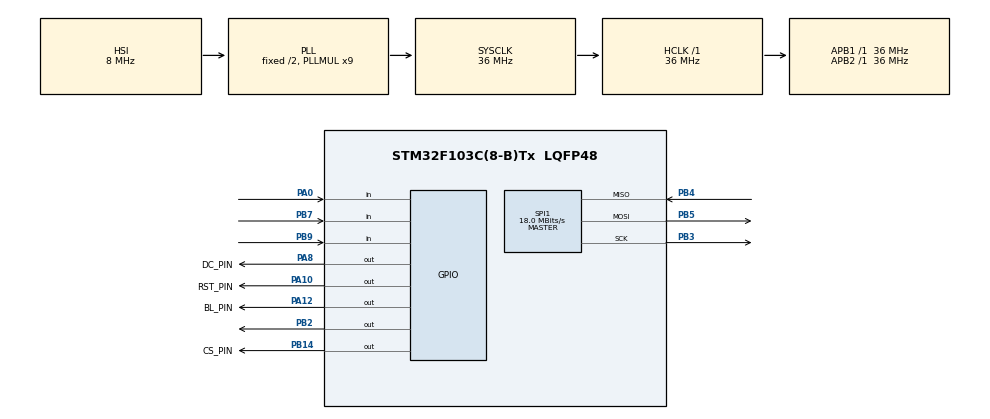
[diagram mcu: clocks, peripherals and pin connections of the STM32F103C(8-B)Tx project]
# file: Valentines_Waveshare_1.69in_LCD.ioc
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Dma.Request0=SPI1_TX
Dma.SPI1_TX.0.Direction=DMA_MEMORY_TO_PERIPH
Dma.SPI1_TX.0.Instance=DMA1_Channel3
Dma.SPI1_TX.0.MemDataAlignment=DMA_MDATAALIGN_BYTE
Dma.SPI1_TX.0.MemInc=DMA_MINC_ENABLE
Dma.SPI1_TX.0.Mode=DMA_NORMAL
Dma.SPI1_TX.0.PeriphDataAlignment=DMA_PDATAALIGN_BYTE
Dma.SPI1_TX.0.PeriphInc=DMA_PINC_DISABLE
Dma.SPI1_TX.0.Priority=DMA_PRIORITY_MEDIUM
Mcu.Family=STM32F1
Mcu.Name=STM32F103C(8-B)Tx
Mcu.Package=LQFP48
NVIC.DMA1_Channel3_IRQn=true\:0\:0\:false\:false\:true\:false\:true\:true
NVIC.PriorityGroup=NVIC_PRIORITYGROUP_4
PA0-WKUP.GPIO_PuPd=GPIO_PULLDOWN
PA0-WKUP.Signal=GPIO_Input
PA10.GPIO_Label=RST_PIN
PA10.Signal=GPIO_Output
PA12.GPIO_Label=BL_PIN
PA12.Signal=GPIO_Output
PA8.GPIO_Label=DC_PIN
PA8.Signal=GPIO_Output
PB14.GPIO_Label=CS_PIN
PB14.Signal=GPIO_Output
PB2.Signal=GPIO_Output
PB3.Mode=Full_Duplex_Master
PB3.Signal=SPI1_SCK
PB4.Mode=Full_Duplex_Master
PB4.Signal=SPI1_MISO
PB5.Mode=Full_Duplex_Master
PB5.Signal=SPI1_MOSI
PB7.GPIO_PuPd=GPIO_PULLUP
PB7.Signal=GPIO_Input
PB9.GPIO_PuPd=GPIO_PULLUP
PB9.Signal=GPIO_Input
ProjectManager.HeapSize=0x200
ProjectManager.StackSize=0x400
ProjectManager.TargetToolchain=STM32CubeIDE
RCC.AHBFreq_Value=36000000
RCC.APB1Freq_Value=36000000
RCC.APB1TimFreq_Value=36000000
RCC.APB2Freq_Value=36000000
RCC.APB2TimFreq_Value=36000000
RCC.HCLKFreq_Value=36000000
RCC.PLLMUL=RCC_PLL_MUL9
RCC.SYSCLKFreq_VALUE=36000000
RCC.SYSCLKSource=RCC_SYSCLKSOURCE_PLLCLK
RCC.USBFreq_Value=36000000
SPI1.BaudRatePrescaler=SPI_BAUDRATEPRESCALER_2
SPI1.CLKPhase=SPI_PHASE_2EDGE
SPI1.CLKPolarity=SPI_POLARITY_HIGH
SPI1.CalculateBaudRate=18.0 MBits/s
SPI1.Direction=SPI_DIRECTION_2LINES
SPI1.Mode=SPI_MODE_MASTER
SPI1.VirtualType=VM_MASTER
VP_SYS_VS_ND.Mode=No_Debug
board=custom

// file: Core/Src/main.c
/* USER CODE BEGIN Header */
/**
  ******************************************************************************
  * @file           : main.c
  * @brief          : Main program body
  ******************************************************************************
  * @attention
  *
  * Copyright (c) 2026 STMicroelectronics.
  * All rights reserved.
  *
  * This software is licensed under terms that can be found in the LICENSE file
  * in the root directory of this software component.
  * If no LICENSE file comes with this software, it is provided AS-IS.
  *
  ******************************************************************************
  */
/* USER CODE END Header */
#include "main.h"

/* USER CODE BEGIN Includes */
#include "st7789.h"
#include "cat_images.h"
/* USER CODE END Includes */

/* USER CODE BEGIN PTD */
#define YBUTTON_PIN_Pin GPIO_PIN_7
#define YBUTTON_PIN_GPIO_Port GPIOB

#define NBUTTON_PIN_Pin GPIO_PIN_9
#define NBUTTON_PIN_GPIO_Port GPIOB

#define VALENTINE 0
#define YES 1
#define ARE_YOU_SURE 2
#define SUPER_DUPER_SURE 3
#define PLEASE_SAY_YES 4
/* USER CODE END PTD */

SPI_HandleTypeDef hspi1;
DMA_HandleTypeDef hdma_spi1_tx;

void SystemClock_Config(void);
static void MX_GPIO_Init(void);
static void MX_DMA_Init(void);
static void MX_SPI1_Init(void);
/* USER CODE BEGIN PFP */
void ST7789_Draw_Image(uint16_t x, uint16_t y, uint16_t w, uint16_t h, uint16_t *data);
void ST7789_Draw_Image_Double(uint16_t x, uint16_t y, uint16_t small_w, uint16_t small_h, uint16_t *data);
/* USER CODE END PFP */

/* USER CODE BEGIN 0 */
void ST7789_Draw_Image(uint16_t x, uint16_t y, uint16_t w, uint16_t h, uint16_t *data)
{
    // 1. Set the boundary for the image
    ST7789_SetAddressWindow(x, y, x + w - 1, y + h - 1);

    ST7789_Select();

    #ifdef USE_DMA
        /* * ST7789_WriteData handles the chunking and DMA calls.
         * We pass the total byte size: (width * height * 2 bytes per pixel)
         */
        ST7789_WriteData((uint8_t *)data, w * h * 2);
    #else
        // Manual 8-bit SPI fallback
        for (uint32_t i = 0; i < (w * h); i++) {
            uint8_t color_bytes[] = {data[i] >> 8, data[i] & 0xFF};
            ST7789_WriteData(color_bytes, 2);
        }
    #endif

    ST7789_UnSelect();
}

/**
 * @brief Draws a small image scaled up by 2x (Pixel Doubling)
 * @param x, y: Starting coordinates on LCD
 * @param small_w, small_h: Dimensions of the tiny source image (e.g., 120x50)
 * @param data: Pointer to the small image array
 */
void ST7789_Draw_Image_Double(uint16_t x, uint16_t y, uint16_t small_w, uint16_t small_h, uint16_t *data)
{
    // Set the window to the LARGER size (double the width and height)
    ST7789_SetAddressWindow(x, y, x + (small_w * 2) - 1, y + (small_h * 2) - 1);

    ST7789_Select();
    ST7789_DC_Set(); // Data mode

    for (uint16_t row = 0; row < small_h; row++)
    {
        // We do everything in this loop twice to double the height
        for (int repeat_row = 0; repeat_row < 2; repeat_row++)
        {
            for (uint16_t col = 0; col < small_w; col++)
            {
                uint16_t color = data[row * small_w + col];
                // Byte swap for ST7789 (Big Endian)
                uint8_t color_bytes[] = { (uint8_t)(color >> 8), (uint8_t)(color & 0xFF) };

                // Send the same pixel twice to double the width
                HAL_SPI_Transmit(&ST7789_SPI_PORT, color_bytes, 2, HAL_MAX_DELAY);
                HAL_SPI_Transmit(&ST7789_SPI_PORT, color_bytes, 2, HAL_MAX_DELAY);
            }
        }
    }

    ST7789_UnSelect();
}
/* USER CODE END 0 */

int main(void)
{

  /* MCU Configuration--------------------------------------------------------*/

  /* Reset of all peripherals, Initializes the Flash interface and the Systick. */
  HAL_Init();

  /* Configure the system clock */
  SystemClock_Config();

  /* Initialize all configured peripherals */
  MX_GPIO_Init();
  MX_DMA_Init();
  MX_SPI1_Init();
  /* USER CODE BEGIN 2 */
  HAL_GPIO_WritePin(GPIOB, GPIO_PIN_2, GPIO_PIN_SET);
  ST7789_Init();
  HAL_GPIO_WritePin(GPIOB, GPIO_PIN_2, GPIO_PIN_RESET);

  // Background
  ST7789_Fill_Color(WHITEISH);

  /* USER CODE END 2 */

  /* Infinite loop */
  /* USER CODE BEGIN WHILE */

  /*
  #define VALENTINE 0
  #define YES 1
  #define ARE_YOU_SURE 2
  #define SUPER_SURE 3
  #define SUPER_DUPER_SURE 4
  #define PLEASE_SAY_YES 5
  */
  int16_t* c = NULL;
  uint8_t state = VALENTINE;
  while (1)
  {
	switch(state) {
	  case(VALENTINE):
		ST7789_WriteString(30, 10, "Will you be", Font_16x26, RED, WHITE);
		ST7789_WriteString(20, 40, "my Valentine?", Font_16x26, RED, WHITE);
		ST7789_WriteString(100, 70, "<3", Font_16x26, RED, WHITE);
		ST7789_WriteString(10, 150, "YES<3    NO</3", Font_16x26, RED, WHITE);

		c = cat1;
		ST7789_Draw_Image_Double(0, 180, 120, 50, (uint16_t *)c);
		HAL_Delay(50);
		c = cat2;
		ST7789_Draw_Image_Double(0, 180, 120, 50, (uint16_t *)c);

		if (HAL_GPIO_ReadPin(YBUTTON_PIN_GPIO_Port, YBUTTON_PIN_Pin) == 0) {
			state = YES;
			ST7789_Fill_Color(WHITEISH);
			HAL_Delay(200);
		} else if (HAL_GPIO_ReadPin(NBUTTON_PIN_GPIO_Port, NBUTTON_PIN_Pin) == 0) {
			state = ARE_YOU_SURE;
			ST7789_Fill_Color(WHITEISH);
			HAL_Delay(200);
		}
		break;

	  case(YES):
		ST7789_WriteString(60, 10, "YIPPEE!!", Font_16x26, RED, WHITE);
		ST7789_WriteString(40, 40, "I LOVE YOU", Font_16x26, RED, WHITE);
		ST7789_WriteString(10, 70, "SOSOSO MUCH!!!", Font_16x26, RED, WHITE);
		ST7789_WriteString(20, 100, "MWAMWAMWAMWA", Font_16x26, RED, WHITE);
		ST7789_WriteString(10, 130, "<3<3<3<3<3<3<3", Font_16x26, RED, WHITE);
		ST7789_WriteString(10, 160, "YAYAYAYAYYAYAY", Font_16x26, RED, WHITE);
		c = catheart;
		ST7789_Draw_Image_Double(20, 190, 50, 50, (uint16_t *)c);
		c = catroses;
		ST7789_Draw_Image_Double(120, 190, 50, 50, (uint16_t *)c);
		break;
	  case(ARE_YOU_SURE):
		ST7789_WriteString(10, 30, "Are you sure??", Font_16x26, RED, WHITE);
	  	c = catplead;
	  	ST7789_Draw_Image_Double(70, 95, 50, 50, (uint16_t *)c);
	  	ST7789_WriteString(20, 250, "YES!!    NO!!", Font_16x26, RED, WHITE);

		if (HAL_GPIO_ReadPin(YBUTTON_PIN_GPIO_Port, YBUTTON_PIN_Pin) == 0) {
			state = SUPER_DUPER_SURE;
			ST7789_Fill_Color(WHITEISH);
			HAL_Delay(200);
		} else if (HAL_GPIO_ReadPin(NBUTTON_PIN_GPIO_Port, NBUTTON_PIN_Pin) == 0) {
			state = VALENTINE;
			ST7789_Fill_Color(WHITEISH);
			HAL_Delay(200);
 		}
		break;

	  case(SUPER_DUPER_SURE):
		ST7789_WriteString(30, 30, "SUPER DUPER", Font_16x26, RED, WHITE);
	  	ST7789_WriteString(10, 60, "SURE??????????", Font_16x26, RED, WHITE);
	    c = catcheeks;
		ST7789_Draw_Image_Double(70, 115, 50, 50, (uint16_t *)c);
		ST7789_WriteString(20, 250, "YES!!    NO!!", Font_16x26, RED, WHITE);
		if (HAL_GPIO_ReadPin(YBUTTON_PIN_GPIO_Port, YBUTTON_PIN_Pin) == 0) {
			state = PLEASE_SAY_YES;
			ST7789_Fill_Color(WHITEISH);
			HAL_Delay(200);
		} else if (HAL_GPIO_ReadPin(NBUTTON_PIN_GPIO_Port, NBUTTON_PIN_Pin) == 0) {
			state = VALENTINE;
			ST7789_Fill_Color(WHITEISH);
			HAL_Delay(200);
		}
		break;

	  case(PLEASE_SAY_YES):
		ST7789_WriteString(10, 10, "PLSPLSPLSPLSPLSPLSPLSPLSPLSPLSPLSPLSPLSPLSPLSPLSPLSPLSPLSPLSPLSPLSPLSPLSPLSPLSPLSPLSPLSPLSPLSPLSPLSPLSPLSPLSPLSPLSPLSPLSPLSPLS", Font_16x26, RED, WHITE);
	  	ST7789_WriteString(20, 250, "YES!!   YES!!", Font_16x26, RED, WHITE);
		if (HAL_GPIO_ReadPin(YBUTTON_PIN_GPIO_Port, YBUTTON_PIN_Pin) == 0) {
			state = YES;
			ST7789_Fill_Color(WHITEISH);
			HAL_Delay(200);
		} else if (HAL_GPIO_ReadPin(NBUTTON_PIN_GPIO_Port, NBUTTON_PIN_Pin) == 0) {
			state = YES;
			ST7789_Fill_Color(WHITEISH);
			HAL_Delay(200);
		}
		break;
	}

    /* USER CODE END WHILE */

  }
}

void SystemClock_Config(void)
{
  RCC_OscInitTypeDef RCC_OscInitStruct = {0};
  RCC_ClkInitTypeDef RCC_ClkInitStruct = {0};

  /** Initializes the RCC Oscillators according to the specified parameters
  * in the RCC_OscInitTypeDef structure.
  */
  RCC_OscInitStruct.OscillatorType = RCC_OSCILLATORTYPE_HSI;
  RCC_OscInitStruct.HSIState = RCC_HSI_ON;
  RCC_OscInitStruct.HSICalibrationValue = RCC_HSICALIBRATION_DEFAULT;
  RCC_OscInitStruct.PLL.PLLState = RCC_PLL_ON;
  RCC_OscInitStruct.PLL.PLLSource = RCC_PLLSOURCE_HSI_DIV2;
  RCC_OscInitStruct.PLL.PLLMUL = RCC_PLL_MUL9;
  if (HAL_RCC_OscConfig(&RCC_OscInitStruct) != HAL_OK)
  {
    Error_Handler();
  }

  /** Initializes the CPU, AHB and APB buses clocks
  */
  RCC_ClkInitStruct.ClockType = RCC_CLOCKTYPE_HCLK|RCC_CLOCKTYPE_SYSCLK
                              |RCC_CLOCKTYPE_PCLK1|RCC_CLOCKTYPE_PCLK2;
  RCC_ClkInitStruct.SYSCLKSource = RCC_SYSCLKSOURCE_PLLCLK;
  RCC_ClkInitStruct.AHBCLKDivider = RCC_SYSCLK_DIV1;
  RCC_ClkInitStruct.APB1CLKDivider = RCC_HCLK_DIV1;
  RCC_ClkInitStruct.APB2CLKDivider = RCC_HCLK_DIV1;

  if (HAL_RCC_ClockConfig(&RCC_ClkInitStruct, FLASH_LATENCY_1) != HAL_OK)
  {
    Error_Handler();
  }
}

static void MX_SPI1_Init(void)
{

  /* SPI1 parameter configuration*/
  hspi1.Instance = SPI1;
  hspi1.Init.Mode = SPI_MODE_MASTER;
  hspi1.Init.Direction = SPI_DIRECTION_2LINES;
  hspi1.Init.DataSize = SPI_DATASIZE_8BIT;
  hspi1.Init.CLKPolarity = SPI_POLARITY_HIGH;
  hspi1.Init.CLKPhase = SPI_PHASE_2EDGE;
  hspi1.Init.NSS = SPI_NSS_SOFT;
  hspi1.Init.BaudRatePrescaler = SPI_BAUDRATEPRESCALER_2;
  hspi1.Init.FirstBit = SPI_FIRSTBIT_MSB;
  hspi1.Init.TIMode = SPI_TIMODE_DISABLE;
  hspi1.Init.CRCCalculation = SPI_CRCCALCULATION_DISABLE;
  hspi1.Init.CRCPolynomial = 10;
  if (HAL_SPI_Init(&hspi1) != HAL_OK)
  {
    Error_Handler();
  }

}

static void MX_DMA_Init(void)
{

  /* DMA controller clock enable */
  __HAL_RCC_DMA1_CLK_ENABLE();

  /* DMA interrupt init */
  /* DMA1_Channel3_IRQn interrupt configuration */
  HAL_NVIC_SetPriority(DMA1_Channel3_IRQn, 0, 0);
  HAL_NVIC_EnableIRQ(DMA1_Channel3_IRQn);

}

static void MX_GPIO_Init(void)
{
  GPIO_InitTypeDef GPIO_InitStruct = {0};

  /* GPIO Ports Clock Enable */
  __HAL_RCC_GPIOA_CLK_ENABLE();
  __HAL_RCC_GPIOB_CLK_ENABLE();

  /*Configure GPIO pin Output Level */
  HAL_GPIO_WritePin(GPIOB, GPIO_PIN_2|CS_PIN_Pin, GPIO_PIN_RESET);

  /*Configure GPIO pin Output Level */
  HAL_GPIO_WritePin(GPIOA, DC_PIN_Pin|RST_PIN_Pin|BL_PIN_Pin, GPIO_PIN_RESET);

  /*Configure GPIO pin : PA0 */
  GPIO_InitStruct.Pin = GPIO_PIN_0;
  GPIO_InitStruct.Mode = GPIO_MODE_INPUT;
  GPIO_InitStruct.Pull = GPIO_PULLDOWN;
  HAL_GPIO_Init(GPIOA, &GPIO_InitStruct);

  /*Configure GPIO pins : PB2 CS_PIN_Pin */
  GPIO_InitStruct.Pin = GPIO_PIN_2|CS_PIN_Pin;
  GPIO_InitStruct.Mode = GPIO_MODE_OUTPUT_PP;
  GPIO_InitStruct.Pull = GPIO_NOPULL;
  GPIO_InitStruct.Speed = GPIO_SPEED_FREQ_LOW;
  HAL_GPIO_Init(GPIOB, &GPIO_InitStruct);

  /*Configure GPIO pins : DC_PIN_Pin RST_PIN_Pin BL_PIN_Pin */
  GPIO_InitStruct.Pin = DC_PIN_Pin|RST_PIN_Pin|BL_PIN_Pin;
  GPIO_InitStruct.Mode = GPIO_MODE_OUTPUT_PP;
  GPIO_InitStruct.Pull = GPIO_NOPULL;
  GPIO_InitStruct.Speed = GPIO_SPEED_FREQ_LOW;
  HAL_GPIO_Init(GPIOA, &GPIO_InitStruct);

  /*Configure GPIO pins : PB7 PB9 */
  GPIO_InitStruct.Pin = GPIO_PIN_7|GPIO_PIN_9;
  GPIO_InitStruct.Mode = GPIO_MODE_INPUT;
  GPIO_InitStruct.Pull = GPIO_PULLUP;
  HAL_GPIO_Init(GPIOB, &GPIO_InitStruct);

}

void Error_Handler(void)
{
  __disable_irq();
  while (1)
  {
  }
}
